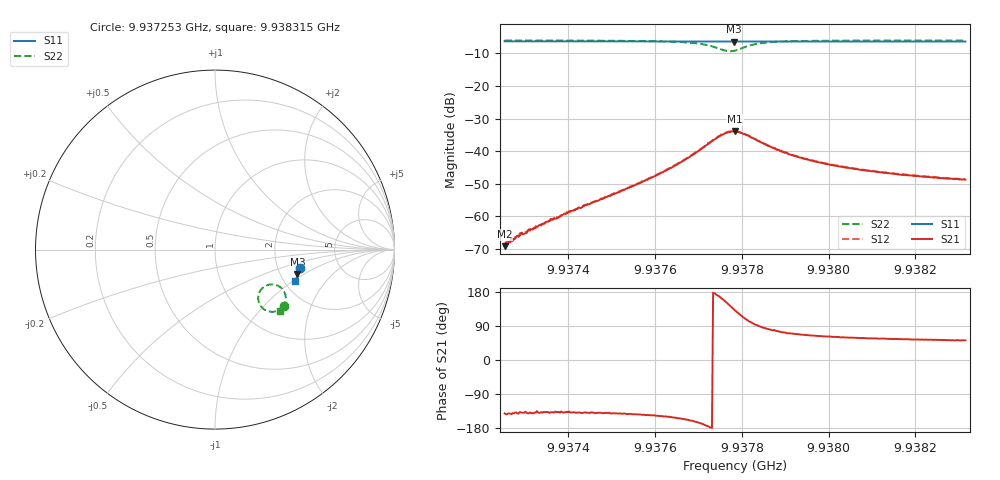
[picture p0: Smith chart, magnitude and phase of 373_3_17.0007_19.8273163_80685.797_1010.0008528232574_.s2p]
#  HZ  S  RI  R  50.00
! Rohde & Schwarz Vector Network Analyzer
! Rohde-Schwarz,ZNB20-2Port,1311601062101988,3.16
! Created: UTC 3/20/2024, 11:08:50 PM
! freq[Hz]  re:S11  im:S11  re:S21  im:S21  re:S12  im:S12  re:S22  im:S22
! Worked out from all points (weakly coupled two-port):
!   401 points, 9.937253 GHz to 9.938315 GHz, reference 50 ohm
!   highest |S21| = -33.94 dB at 9.937784 GHz (marker M1); lowest = -69.1 dB at 9.937253 GHz (marker M2)
!   lowest |S11| = -6.4 dB at 9.937781 GHz (marker M3), VSWR 2.84, Z = 123 - j44.3 ohm
!   |S11| at or under -10 dB: nowhere
!   |S22| runs from -9.4 to -6.1 dB; largest |S21 - S12| = 0.00076
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9.9372527e9  0.4722 -0.1051  -0.000272 -0.000221  -0.000288 -0.00027  0.387 -0.3136
9.937266e9  0.4719 -0.106  -0.000315 -0.00025  -0.000324 -0.000222  0.3859 -0.3144
9.9372846e9  0.4714 -0.1073  -0.000383 -0.000302  -0.000375 -0.000315  0.3847 -0.3156
9.9373112e9  0.471 -0.109  -0.000456 -0.000405  -0.000491 -0.000409  0.3826 -0.3177
9.9373324e9  0.4705 -0.1105  -0.000561 -0.00048  -0.000553 -0.000425  0.3809 -0.3191
9.9373643e9  0.4699 -0.1127  -0.000657 -0.0006  -0.000684 -0.000624  0.3783 -0.3217
9.9374307e9  0.4685 -0.117  -0.00106 -0.000884  -0.00107 -0.00093  0.372 -0.327
9.9375131e9  0.4667 -0.1226  -0.0018 -0.00146  -0.00186 -0.00146  0.3612 -0.3341
9.9376087e9  0.4644 -0.129  -0.00376 -0.00239  -0.00387 -0.00239  0.3399 -0.3436
9.9376698e9  0.4627 -0.1333  -0.00688 -0.00298  -0.00703 -0.00288  0.312 -0.3464
9.9377149e9  0.4611 -0.136  -0.0118 -0.00167  -0.012 -0.00162  0.2728 -0.3323
9.9377521e9  0.4593 -0.1379  -0.0168 0.00501  -0.0172 0.00548  0.2407 -0.2734
9.9377654e9  0.4589 -0.1382  -0.0167 0.00936  -0.0168 0.0101  0.2474 -0.2387
9.9377814e9  0.4586 -0.1384  -0.0139 0.0145  -0.0137 0.015  0.2777 -0.2043
9.937784e9  0.4587 -0.1386  -0.0131 0.0152  -0.0128 0.0156  0.2845 -0.2008
9.9378106e9  0.4591 -0.1399  -0.00506 0.0169  -0.00464 0.0172  0.3489 -0.2001
9.9378425e9  0.459 -0.1422  0.000395 0.0139  0.000721 0.0139  0.3853 -0.2342
9.9378876e9  0.4583 -0.1456  0.00274 0.00967  0.00296 0.0098  0.3946 -0.2708
9.937962e9  0.4566 -0.1507  0.00305 0.00647  0.00324 0.00647  0.3888 -0.3008
9.9380417e9  0.4545 -0.1559  0.00283 0.00483  0.00298 0.00482  0.3807 -0.3168
9.93814e9  0.4519 -0.1624  0.00259 0.0038  0.00272 0.00378  0.3722 -0.3291
9.9383153e9  0.447 -0.1736  0.00226 0.00289  0.00235 0.00286  0.3594 -0.3435
